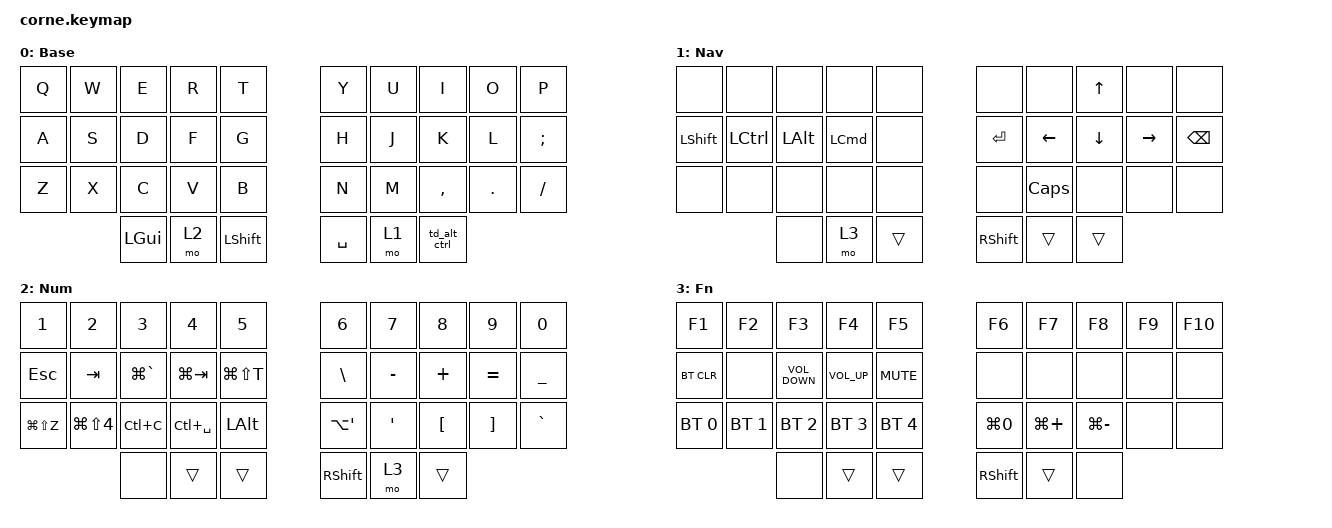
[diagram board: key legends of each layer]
/*
 * Copyright (c) 2020 The ZMK Contributors
 *
 * SPDX-License-Identifier: MIT
 */

#include <behaviors.dtsi>
#include <dt-bindings/zmk/bt.h>
#include <dt-bindings/zmk/keys.h>

/ {
    chosen {
        // Chocofi has 5 columns per side: use ZMK's 36-key Corne layout.
        zmk,physical-layout = &foostan_corne_5col_layout;
    };

    behaviors {
        td_alt_ctrl: td_alt_ctrl {
            compatible = "zmk,behavior-tap-dance";
            #binding-cells = <0>;
            tapping-term-ms = <200>;
            bindings = <&kp RALT>, <&kp LCTRL>;
        };
    };

    // Rendered layout: keymap-drawer/corne.svg (regenerated by scripts/draw-keymap.sh).
    keymap {
        compatible = "zmk,keymap";

        default_layer {
            display-name = "Base";
            bindings = <
&kp Q  &kp W  &kp E     &kp R  &kp T         &kp Y      &kp U  &kp I      &kp O    &kp P
&kp A  &kp S  &kp D     &kp F  &kp G         &kp H      &kp J  &kp K      &kp L    &kp SEMI
&kp Z  &kp X  &kp C     &kp V  &kp B         &kp N      &kp M  &kp COMMA  &kp DOT  &kp FSLH
              &kp LGUI  &mo 2  &kp LSHIFT    &kp SPACE  &mo 1  &td_alt_ctrl
            >;
        };

        lower_layer {
            // Hold the right middle thumb.
            display-name = "Nav";
            bindings = <
&none           &none      &none         &none             &none     &none       &none         &kp UP_ARROW  &none      &none
&kp LEFT_SHIFT  &kp LCTRL  &kp LEFT_ALT  &kp LEFT_COMMAND  &none     &kp ENTER   &kp LEFT      &kp DOWN      &kp RIGHT  &kp BACKSPACE
&none           &none      &none         &none             &none     &none       &kp CAPSLOCK  &none         &none      &none
                           &none         &mo 3             &trans    &kp RSHIFT  &trans        &trans
            >;
        };

        raise_layer {
            // Hold the left middle thumb.
            display-name = "Num";
            bindings = <
&kp NUMBER_1   &kp NUMBER_2          &kp NUMBER_3   &kp NUMBER_4   &kp N5           &kp NUMBER_6          &kp N7     &kp N8            &kp N9             &kp N0
&kp ESCAPE     &kp TAB               &kp LG(GRAVE)  &kp LG(TAB)    &kp LG(LS(T))    &kp BACKSLASH         &kp MINUS  &kp PLUS          &kp EQUAL          &kp UNDERSCORE
&kp LG(LS(Z))  &kp LG(LS(NUMBER_4))  &kp LC(C)      &kp LC(SPACE)  &kp LEFT_ALT     &kp LA(SINGLE_QUOTE)  &kp SQT    &kp LEFT_BRACKET  &kp RIGHT_BRACKET  &kp GRAVE
                                     &none          &trans         &trans           &kp RSHIFT            &mo 3      &trans
            >;
        };

        layer_3 {
            // Hold both middle thumbs.
            // Bluetooth: A = BT_CLR (forget host on current profile), Z X C V B = BT_SEL 0..4.
            display-name = "Fn";
            bindings = <
&kp F1        &kp F2        &kp F3             &kp F4           &kp F5        &kp F6      &kp F7        &kp F8         &kp F9  &kp F10
&bt BT_CLR    &none         &kp C_VOLUME_DOWN  &kp C_VOLUME_UP  &kp K_MUTE    &none       &none         &none          &none   &none
&bt BT_SEL 0  &bt BT_SEL 1  &bt BT_SEL 2       &bt BT_SEL 3     &bt BT_SEL 4  &kp LG(N0)  &kp LG(PLUS)  &kp LG(MINUS)  &none   &none
                            &none              &trans           &trans        &kp RSHIFT  &trans        &none
            >;
        };
    };
};
